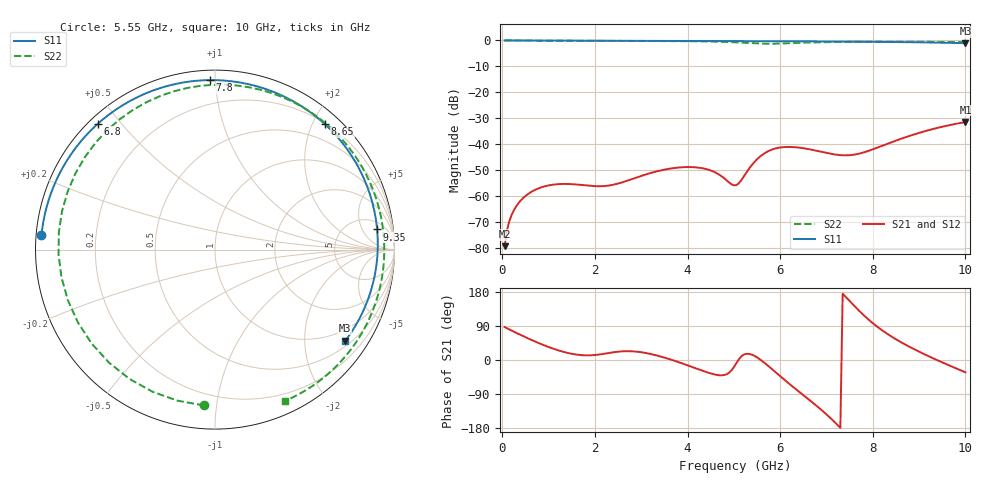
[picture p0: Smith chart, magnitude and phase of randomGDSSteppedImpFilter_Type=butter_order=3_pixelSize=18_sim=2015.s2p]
! freq	dB(S11)	phase(S11)	dB(S12)	phase(S12)
!  dB(S21)	phase(S21)	dB(S22)	phase(S22)
!S-par simulation data
#  GHz  S  DB  R 50
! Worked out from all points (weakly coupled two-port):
!   200 points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, 50 MHz to 10 GHz, reference 50 ohm
!   highest |S21| = -31.38 dB at 10 GHz (marker M1); lowest = -79.1 dB at 50 MHz (marker M2)
!   lowest |S11| = -1.0 dB at 10 GHz (marker M3), VSWR 16.59, Z = 32.2 - j152 ohm
!   |S11| at or under -10 dB: nowhere
!   |S22| runs from -1.3 to 0.0 dB; largest |S21 - S12| = 0
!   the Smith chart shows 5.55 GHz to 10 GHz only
!   S11 on the Smith chart (normalised r, x): 5.55 GHz: 0.02, +0.04; 6.8 GHz: 0.03, +0.44; 7.8 GHz: 0.06, +0.97; 8.65 GHz: 0.21, +2.19; 9.35 GHz: 8, +10; 10 GHz: 0.64, -3.05
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0.05  -0.00 -2.0  -79.12 87.0  -79.12 87.0  -0.01 -4.2
0.2  -0.01 -7.8  -67.19 77.8  -67.19 77.8  -0.02 -16.7
0.5  -0.02 -19.2  -59.82 60.2  -59.82 60.2  -0.05 -41.2
1.1  -0.05 -41.8  -55.45 29.8  -55.45 29.8  -0.10 -86.9
1.75  -0.08 -65.3  -55.65 12.5  -55.65 12.5  -0.14 -130.4
2.55  -0.11 -92.5  -54.78 22.5  -54.78 22.5  -0.17 -178.0
3.4  -0.14 -119.5  -50.08 9.9  -50.08 9.9  -0.22 132.6
4.3  -0.19 -146.8  -49.08 -27.4  -49.08 -27.4  -0.35 70.9
4.65  -0.21 -157.3  -51.25 -39.8  -51.25 -39.8  -0.47 39.3
5.05  -0.23 -169.3  -55.66 -9.0  -55.66 -9.0  -0.73 -8.4
5.3  -0.25 -177.0  -50.05 16.5  -50.05 16.5  -0.97 -47.5
5.55  -0.26 175.2  -44.91 3.0  -44.91 3.0  -1.21 -94.0
5.8  -0.28 167.3  -42.13 -21.6  -42.13 -21.6  -1.27 -142.7
6  -0.30 160.8  -41.18 -42.7  -41.18 -42.7  -1.19 -178.2
6.35  -0.33 149.0  -41.11 -78.1  -41.11 -78.1  -0.95 131.9
6.7  -0.36 136.6  -42.09 -112.2  -42.09 -112.2  -0.76 95.2
6.8  -0.37 132.9  -42.47 -122.3  -42.47 -122.3  -0.72 86.4
7.8  -0.49 91.7  -43.08 118.7  -43.08 118.7  -0.53 21.0
8.35  -0.58 64.9  -39.51 66.1  -39.51 66.1  -0.51 -5.2
8.65  -0.64 48.7  -37.56 44.2  -37.56 44.2  -0.51 -17.8
9.35  -0.82 7.1  -33.84 1.9  -33.84 1.9  -0.56 -44.0
10  -1.05 -35.0  -31.38 -32.4  -31.38 -32.4  -0.65 -65.3
